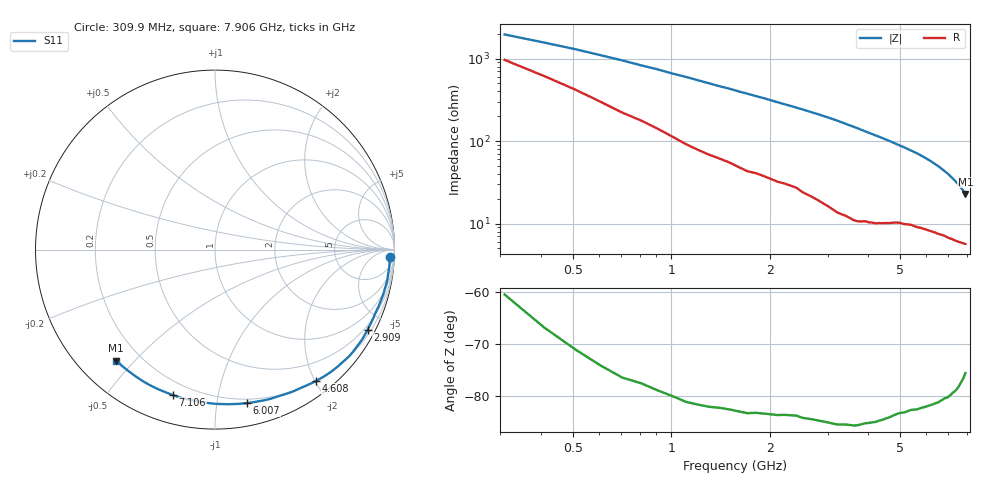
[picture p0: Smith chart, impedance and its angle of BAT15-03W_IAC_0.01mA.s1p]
! Infineon Technologies  Discrete & RF Semiconductors
! BAT15-03W-E6327
! IAC = 0.01 mA
! One-Port S-Parameters
# Hz  S  MA  R  50
!f  S11
!Hz  Mag  Ang
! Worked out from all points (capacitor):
!   77 points, 309.9 MHz to 7.906 GHz, reference 50 ohm
!   read as one part to ground: C = 270 fF near 309.9 MHz
!   lowest |Z| = 22.9 ohm at 7.906 GHz (marker M1)
!   S11 on the Smith chart (normalised r, x): 309.9 MHz: 19, -34; 2.909 GHz: 0.35, -4.03; 4.608 GHz: 0.20, -2.01; 6.007 GHz: 0.17, -1.22; 7.106 GHz: 0.13, -0.74; 7.906 GHz: 0.11, -0.44
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3.0985e8  0.9752 -2.5
7.0965e8  0.9759 -5.9
1.10945e9  0.975 -9.4
1.30935e9  0.9734 -11.3
1.70915e9  0.9703 -15.1
2.2089e9  0.963 -20.1
2.50875e9  0.9614 -23.2
2.90855e9  0.9602 -27.7
3.2084e9  0.9605 -31.4
3.6082e9  0.9564 -37.0
3.70815e9  0.9545 -38.5
4.10795e9  0.9422 -44.6
4.4078e9  0.932 -49.2
4.6077e9  0.9234 -52.5
5.10745e9  0.9027 -60.8
5.6072e9  0.8866 -69.8
5.70715e9  0.8833 -71.8
6.007e9  0.8735 -78.1
6.30685e9  0.8649 -85.0
6.50675e9  0.8594 -89.8
6.70665e9  0.8527 -95.0
7.0065e9  0.8469 -103.1
7.10645e9  0.8438 -106.2
7.30635e9  0.8398 -112.1
7.50625e9  0.8363 -118.3
7.70615e9  0.8311 -125.0
7.8061e9  0.8297 -128.2
7.90605e9  0.8275 -131.7
